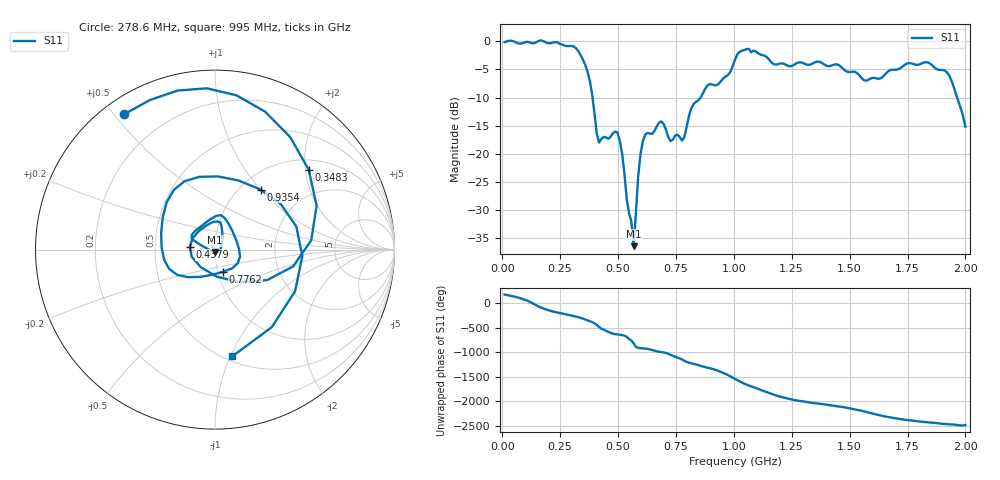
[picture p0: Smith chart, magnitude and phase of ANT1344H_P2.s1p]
!Created with skrf (http://scikit-rf.org).
# Hz S RI R 50.0
!freq ReS11 ImS11
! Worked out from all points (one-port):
!   201 points, 10 MHz to 2 GHz, reference 50 ohm
!   lowest |S11| = -36.4 dB at 567.2 MHz (marker M1), VSWR 1.03, Z = 49.7 - j1.48 ohm
!   |S11| at or under -10 dB: 389.8 MHz to 856.4 MHz (466.6 MHz wide, 74.9 % of centre); 1.964 GHz to end of sweep
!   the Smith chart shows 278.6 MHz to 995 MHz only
!   S11 on the Smith chart (normalised r, x): 278.6 MHz: 0.06, +0.53; 348.3 MHz: 1.24, +2.09; 437.9 MHz: 0.75, +0.02; 776.1 MHz: 1.06, -0.27; 935.4 MHz: 1.23, +1.00; 995 MHz: 0.54, -1.02
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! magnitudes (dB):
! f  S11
! 10 MHz  -0.1
! 258.8 MHz  -0.6
! 278.6 MHz  -0.8
! 348.3 MHz  -3.3
! 378.1 MHz  -7.0
! 417.9 MHz  -18.0
! 437.9 MHz  -17.0
! 487.6 MHz  -16.0
! 507.5 MHz  -17.7
! 567.2 MHz  -36.4
! 587.1 MHz  -23.9
! 597 MHz  -20.0
! 617 MHz  -16.6
! 686.6 MHz  -14.2
! 726.4 MHz  -17.7
! 756.2 MHz  -16.6
! 776.1 MHz  -17.6
! 825.9 MHz  -11.1
! 935.4 MHz  -7.5
! 995 MHz  -4.4
! 1.005 GHz  -3.3
! 1.065 GHz  -1.3
! 1.254 GHz  -4.3
! 1.502 GHz  -5.5
! 1.632 GHz  -6.6
! 1.751 GHz  -3.9
! 1.92 GHz  -5.5
! 2 GHz  -15.2
